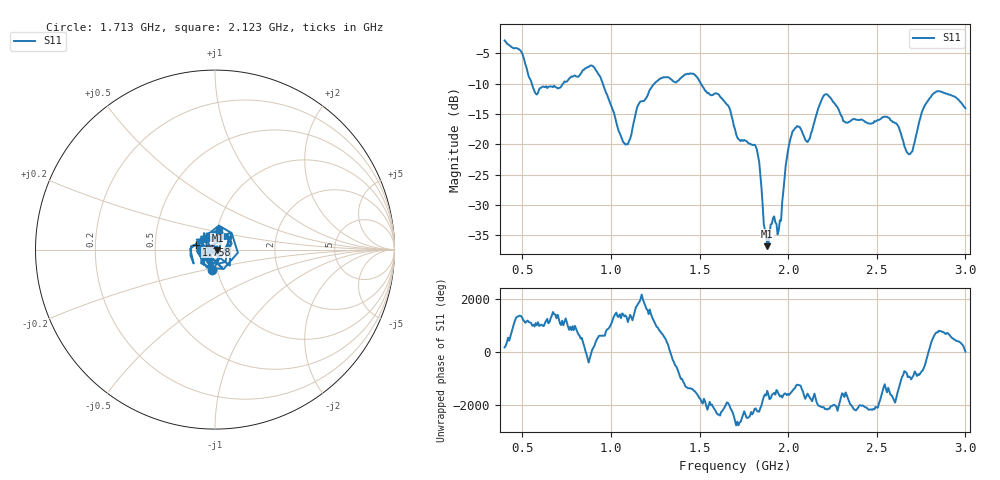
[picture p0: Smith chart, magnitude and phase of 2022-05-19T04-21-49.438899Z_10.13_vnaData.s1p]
!Created with skrf (http://scikit-rf.org).
# Hz S RI R 50.0
!freq ReS11 ImS11
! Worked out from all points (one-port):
!   401 points, 400 MHz to 3 GHz, reference 50 ohm
!   lowest |S11| = -36.8 dB at 1.882 GHz (marker M1), VSWR 1.03, Z = 51.4 - j0.467 ohm
!   |S11| at or under -10 dB: 553.6 MHz to 729.7 MHz (176.1 MHz wide, 27.5 % of centre); 954 MHz to 1.245 GHz (290.9 MHz wide, 26.5 % of centre); 1.508 GHz to end of sweep
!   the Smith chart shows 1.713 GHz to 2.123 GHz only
!   S11 on the Smith chart (normalised r, x): 1.713 GHz: 0.95, -0.22; 1.758 GHz: 0.81, +0.05; 2.123 GHz: 1.01, +0.23
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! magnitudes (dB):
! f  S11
! 400 MHz  -2.9
! 491 MHz  -4.6
! 575.5 MHz  -11.6
! 725 MHz  -10.1
! 900.5 MHz  -7.2
! 1.05 GHz  -18.2
! 1.095 GHz  -20.0
! 1.154 GHz  -13.5
! 1.258 GHz  -9.6
! 1.375 GHz  -9.6
! 1.46 GHz  -8.3
! 1.609 GHz  -11.8
! 1.7 GHz  -17.5
! 1.713 GHz  -18.9
! 1.758 GHz  -19.4
! 1.823 GHz  -20.9
! 1.869 GHz  -34.1
! 1.882 GHz  -36.8
! 1.954 GHz  -32.5
! 1.992 GHz  -22.2
! 2.025 GHz  -17.8
! 2.123 GHz  -19.0
! 2.207 GHz  -11.8
! 2.35 GHz  -16.2
! 2.558 GHz  -15.5
! 2.675 GHz  -21.5
! 2.825 GHz  -11.5
! 3 GHz  -14.0
